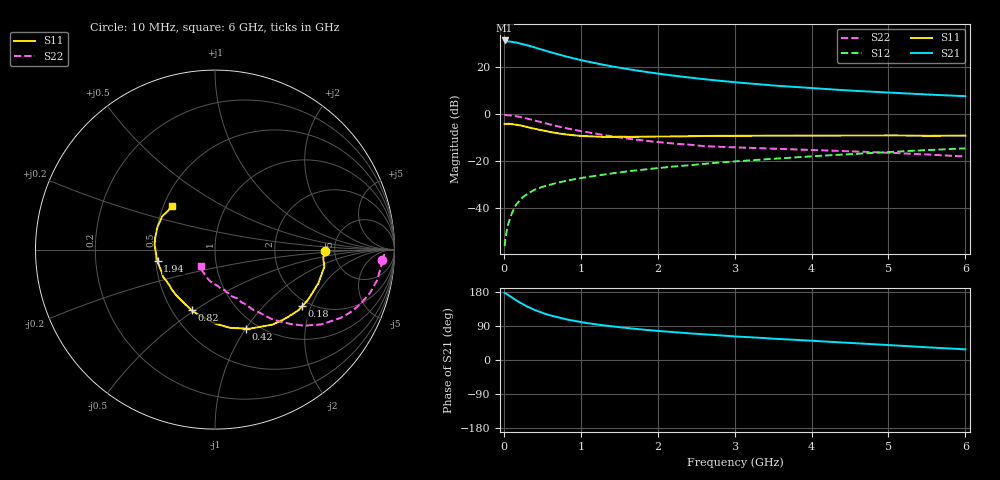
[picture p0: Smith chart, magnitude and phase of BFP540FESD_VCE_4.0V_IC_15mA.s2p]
! Infineon Technologies  Discrete & RF Semiconductors
! BFP540FESD
! VCE =  4.0 V,  IC =  15 mA
! Common Emitter S-Parameters:  Nov 2015
# GHz  S  MA  R  50
!  f  S11  S21  S12  S22
! GHz  MAG  ANG  MAG  ANG  MAG  ANG  MAG  ANG
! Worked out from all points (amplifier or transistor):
!   210 points, 10 MHz to 6 GHz, reference 50 ohm
!   highest |S21| = 31.3 dB at 10 MHz (marker M1)
!   |S21| within 3 dB of that: start of sweep to 403 MHz
!   unconditionally stable (mu >= 1): start of sweep to 17.05 MHz; 1.956 GHz to end of sweep
!   at 185 MHz: K = 0.33, MSG = 34.0 dB, |S12| = -37.8 dB
!   at 1.52 GHz: K = 0.92, MSG = 22.3 dB, |S12| = -25.0 dB
!   at 6 GHz: K = 1.19, MAG = 8.5 dB, |S12| = -14.7 dB
!   S11 on the Smith chart (normalised r, x): 10 MHz: 4.13, -0.08; 180 MHz: 1.83, -1.73; 420 MHz: 0.88, -1.00; 820 MHz: 0.62, -0.49; 1.94 GHz: 0.51, -0.07; 6 GHz: 0.55, +0.30
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0.01  0.6102 -0.6  36.79 177.2  0.0015 30.5  0.9322 -3.4
0.02  0.6054 -4.8  35.52 176.4  0.0021 40.7  0.9432 -1.8
0.05  0.6168 -8.9  35.3 172.4  0.004 68.1  0.9316 -5.1
0.1  0.6055 -18.1  34.46 165.5  0.0071 74.0  0.9197 -10.6
0.15  0.5893 -28.3  33.6 159.0  0.0109 69.9  0.8968 -15.6
0.18  0.5791 -33.0  32.69 155.2  0.0126 70.2  0.8775 -18.4
0.22  0.5634 -39.3  31.53 150.4  0.015 69.6  0.8521 -22.1
0.3  0.5268 -52.5  29.22 141.4  0.0192 68.1  0.7957 -28.6
0.42  0.472 -68.7  25.54 130.7  0.0247 63.6  0.7087 -36.2
0.5  0.4439 -79.1  23.36 124.3  0.0276 62.2  0.6526 -40.5
0.6  0.4116 -90.1  20.78 117.9  0.0307 60.0  0.5924 -44.4
0.82  0.3622 -111.0  16.59 107.0  0.0371 59.0  0.4894 -51.3
1.02  0.3367 -125.6  13.81 99.6  0.0431 58.1  0.4224 -55.4
1.2  0.3276 -138.0  11.91 94.0  0.0478 57.7  0.3752 -59.1
1.4  0.3224 -147.7  10.33 88.9  0.0534 57.5  0.3322 -62.9
1.94  0.3268 -168.6  7.463 77.9  0.0679 56.6  0.2546 -72.4
2.02  0.328 -171.5  7.158 76.5  0.0698 56.2  0.2477 -74.3
2.58  0.3377 175.8  5.539 68.0  0.0849 54.8  0.206 -84.9
3.1  0.34 167.1  4.584 61.2  0.099 52.6  0.1907 -91.9
4.1  0.3446 156.8  3.448 49.6  0.1269 48.1  0.1677 -103.6
5.1  0.3462 146.7  2.788 38.2  0.1565 41.4  0.1455 -114.9
6  0.3424 134.8  2.383 28.1  0.1832 34.9  0.1227 -130.2
